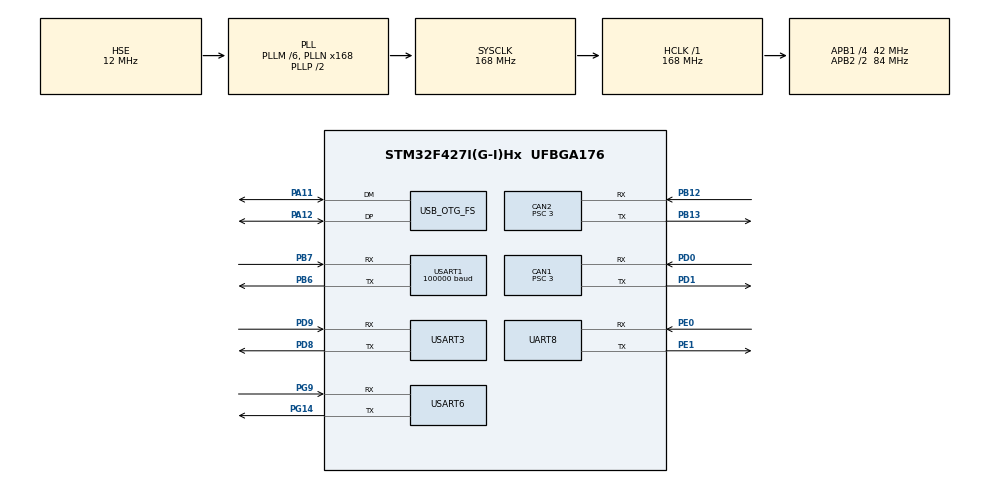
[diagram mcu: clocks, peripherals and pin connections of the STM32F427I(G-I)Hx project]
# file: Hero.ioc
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CAN1.ABOM=ENABLE
CAN1.BS1=CAN_BS1_9TQ
CAN1.BS2=CAN_BS2_4TQ
CAN1.CalculateBaudRate=1000000
CAN1.CalculateTimeBit=1000
CAN1.CalculateTimeQuantum=71.42857142857143
CAN1.NART=ENABLE
CAN1.Prescaler=3
CAN2.ABOM=ENABLE
CAN2.BS1=CAN_BS1_9TQ
CAN2.BS2=CAN_BS2_4TQ
CAN2.CalculateBaudRate=1000000
CAN2.CalculateTimeBit=1000
CAN2.CalculateTimeQuantum=71.42857142857143
CAN2.NART=ENABLE
CAN2.Prescaler=3
Dma.Request0=USART3_RX
Dma.Request1=USART3_TX
Dma.Request2=USART6_TX
Dma.Request3=USART1_RX
Dma.Request4=USART1_TX
Dma.Request5=UART8_RX
Dma.Request6=UART8_TX
Dma.Request7=USART6_RX
Dma.UART8_RX.5.Direction=DMA_PERIPH_TO_MEMORY
Dma.UART8_RX.5.FIFOMode=DMA_FIFOMODE_DISABLE
Dma.UART8_RX.5.Instance=DMA1_Stream6
Dma.UART8_RX.5.MemDataAlignment=DMA_MDATAALIGN_BYTE
Dma.UART8_RX.5.MemInc=DMA_MINC_ENABLE
Dma.UART8_RX.5.Mode=DMA_NORMAL
Dma.UART8_RX.5.PeriphDataAlignment=DMA_PDATAALIGN_BYTE
Dma.UART8_RX.5.PeriphInc=DMA_PINC_DISABLE
Dma.UART8_RX.5.Priority=DMA_PRIORITY_LOW
Dma.UART8_TX.6.Direction=DMA_MEMORY_TO_PERIPH
Dma.UART8_TX.6.FIFOMode=DMA_FIFOMODE_DISABLE
Dma.UART8_TX.6.Instance=DMA1_Stream0
Dma.UART8_TX.6.MemDataAlignment=DMA_MDATAALIGN_BYTE
Dma.UART8_TX.6.MemInc=DMA_MINC_ENABLE
Dma.UART8_TX.6.Mode=DMA_NORMAL
Dma.UART8_TX.6.PeriphDataAlignment=DMA_PDATAALIGN_BYTE
Dma.UART8_TX.6.PeriphInc=DMA_PINC_DISABLE
Dma.UART8_TX.6.Priority=DMA_PRIORITY_LOW
Dma.USART1_RX.3.Direction=DMA_PERIPH_TO_MEMORY
Dma.USART1_RX.3.FIFOMode=DMA_FIFOMODE_DISABLE
Dma.USART1_RX.3.Instance=DMA2_Stream2
Dma.USART1_RX.3.MemDataAlignment=DMA_MDATAALIGN_BYTE
Dma.USART1_RX.3.MemInc=DMA_MINC_ENABLE
Dma.USART1_RX.3.Mode=DMA_NORMAL
Dma.USART1_RX.3.PeriphDataAlignment=DMA_PDATAALIGN_BYTE
Dma.USART1_RX.3.PeriphInc=DMA_PINC_DISABLE
Dma.USART1_RX.3.Priority=DMA_PRIORITY_LOW
Dma.USART1_TX.4.Direction=DMA_MEMORY_TO_PERIPH
Dma.USART1_TX.4.FIFOMode=DMA_FIFOMODE_DISABLE
Dma.USART1_TX.4.Instance=DMA2_Stream7
Dma.USART1_TX.4.MemDataAlignment=DMA_MDATAALIGN_BYTE
Dma.USART1_TX.4.MemInc=DMA_MINC_ENABLE
Dma.USART1_TX.4.Mode=DMA_NORMAL
Dma.USART1_TX.4.PeriphDataAlignment=DMA_PDATAALIGN_BYTE
Dma.USART1_TX.4.PeriphInc=DMA_PINC_DISABLE
Dma.USART1_TX.4.Priority=DMA_PRIORITY_LOW
Dma.USART3_RX.0.Direction=DMA_PERIPH_TO_MEMORY
Dma.USART3_RX.0.FIFOMode=DMA_FIFOMODE_DISABLE
Dma.USART3_RX.0.Instance=DMA1_Stream1
Dma.USART3_RX.0.MemDataAlignment=DMA_MDATAALIGN_BYTE
Dma.USART3_RX.0.MemInc=DMA_MINC_ENABLE
Dma.USART3_RX.0.Mode=DMA_NORMAL
Dma.USART3_RX.0.PeriphDataAlignment=DMA_PDATAALIGN_BYTE
Dma.USART3_RX.0.PeriphInc=DMA_PINC_DISABLE
Dma.USART3_RX.0.Priority=DMA_PRIORITY_LOW
Dma.USART3_TX.1.Direction=DMA_MEMORY_TO_PERIPH
Dma.USART3_TX.1.FIFOMode=DMA_FIFOMODE_DISABLE
Dma.USART3_TX.1.Instance=DMA1_Stream4
Dma.USART3_TX.1.MemDataAlignment=DMA_MDATAALIGN_BYTE
Dma.USART3_TX.1.MemInc=DMA_MINC_ENABLE
Dma.USART3_TX.1.Mode=DMA_NORMAL
Dma.USART3_TX.1.PeriphDataAlignment=DMA_PDATAALIGN_BYTE
Dma.USART3_TX.1.PeriphInc=DMA_PINC_DISABLE
Dma.USART3_TX.1.Priority=DMA_PRIORITY_LOW
Dma.USART6_RX.7.Direction=DMA_PERIPH_TO_MEMORY
Dma.USART6_RX.7.FIFOMode=DMA_FIFOMODE_DISABLE
Dma.USART6_RX.7.Instance=DMA2_Stream1
Dma.USART6_RX.7.MemDataAlignment=DMA_MDATAALIGN_BYTE
Dma.USART6_RX.7.MemInc=DMA_MINC_ENABLE
Dma.USART6_RX.7.Mode=DMA_NORMAL
Dma.USART6_RX.7.PeriphDataAlignment=DMA_PDATAALIGN_BYTE
Dma.USART6_RX.7.PeriphInc=DMA_PINC_DISABLE
Dma.USART6_RX.7.Priority=DMA_PRIORITY_LOW
Dma.USART6_TX.2.Direction=DMA_MEMORY_TO_PERIPH
Dma.USART6_TX.2.FIFOMode=DMA_FIFOMODE_DISABLE
Dma.USART6_TX.2.Instance=DMA2_Stream6
Dma.USART6_TX.2.MemDataAlignment=DMA_MDATAALIGN_BYTE
Dma.USART6_TX.2.MemInc=DMA_MINC_ENABLE
Dma.USART6_TX.2.Mode=DMA_NORMAL
Dma.USART6_TX.2.PeriphDataAlignment=DMA_PDATAALIGN_BYTE
Dma.USART6_TX.2.PeriphInc=DMA_PINC_DISABLE
Dma.USART6_TX.2.Priority=DMA_PRIORITY_LOW
FREERTOS.Tasks01=start_name,24,128,start,Default,NULL,Dynamic,NULL,NULL
FREERTOS.configTOTAL_HEAP_SIZE=32768
Mcu.Family=STM32F4
Mcu.Name=STM32F427I(G-I)Hx
Mcu.Package=UFBGA176
NVIC.CAN1_RX0_IRQn=true\:6\:0\:true\:false\:true\:true\:true\:true\:true
NVIC.CAN1_RX1_IRQn=true\:6\:0\:true\:false\:true\:true\:true\:true\:true
NVIC.CAN2_RX0_IRQn=true\:6\:0\:true\:false\:true\:true\:true\:true\:true
NVIC.CAN2_RX1_IRQn=true\:6\:0\:true\:false\:true\:true\:true\:true\:true
NVIC.DMA1_Stream0_IRQn=true\:6\:0\:true\:false\:true\:true\:false\:true\:true
NVIC.DMA1_Stream1_IRQn=true\:6\:0\:true\:false\:true\:true\:false\:true\:true
NVIC.DMA1_Stream4_IRQn=true\:6\:0\:true\:false\:true\:false\:false\:true\:true
NVIC.DMA1_Stream6_IRQn=true\:6\:0\:true\:false\:true\:true\:false\:true\:true
NVIC.DMA2_Stream1_IRQn=true\:5\:0\:false\:false\:true\:true\:false\:true\:true
NVIC.DMA2_Stream2_IRQn=true\:6\:0\:true\:false\:true\:true\:false\:true\:true
NVIC.DMA2_Stream6_IRQn=true\:5\:0\:false\:false\:true\:true\:false\:true\:true
NVIC.DMA2_Stream7_IRQn=true\:5\:0\:false\:false\:true\:true\:false\:true\:true
NVIC.OTG_FS_IRQn=true\:5\:0\:false\:false\:true\:true\:true\:true\:true
NVIC.PriorityGroup=NVIC_PRIORITYGROUP_4
NVIC.TIM8_TRG_COM_TIM14_IRQn=true\:15\:0\:false\:false\:true\:false\:false\:true\:true
NVIC.TimeBase=TIM8_TRG_COM_TIM14_IRQn
NVIC.TimeBaseIP=TIM14
NVIC.UART8_IRQn=true\:6\:0\:true\:false\:true\:true\:true\:true\:true
NVIC.USART1_IRQn=true\:6\:0\:true\:false\:true\:true\:true\:true\:true
NVIC.USART3_IRQn=true\:6\:0\:true\:false\:true\:true\:false\:true\:true
NVIC.USART6_IRQn=true\:6\:0\:true\:false\:true\:true\:true\:true\:true
PA11.Mode=Device_Only
PA11.Signal=USB_OTG_FS_DM
PA12.Mode=Device_Only
PA12.Signal=USB_OTG_FS_DP
PA13.Mode=Serial_Wire
PA13.Signal=SYS_JTMS-SWDIO
PA14.Mode=Serial_Wire
PA14.Signal=SYS_JTCK-SWCLK
PB12.Mode=CAN_Activate
PB12.Signal=CAN2_RX
PB13.Mode=CAN_Activate
PB13.Signal=CAN2_TX
PB6.Mode=Asynchronous
PB6.Signal=USART1_TX
PB7.Mode=Asynchronous
PB7.Signal=USART1_RX
PD0.Mode=CAN_Activate
PD0.Signal=CAN1_RX
PD1.Mode=CAN_Activate
PD1.Signal=CAN1_TX
PD8.Mode=Asynchronous
PD8.Signal=USART3_TX
PD9.Mode=Asynchronous
PD9.Signal=USART3_RX
PE0.Mode=Asynchronous
PE0.Signal=UART8_RX
PE1.Mode=Asynchronous
PE1.Signal=UART8_TX
PG14.Mode=Asynchronous
PG14.Signal=USART6_TX
PG9.Mode=Asynchronous
PG9.Signal=USART6_RX
PH0/OSC_IN.Mode=HSE-External-Oscillator
PH0/OSC_IN.Signal=RCC_OSC_IN
PH1/OSC_OUT.Mode=HSE-External-Oscillator
PH1/OSC_OUT.Signal=RCC_OSC_OUT
ProjectManager.HeapSize=0x2000
ProjectManager.StackSize=0x1000
ProjectManager.TargetToolchain=MDK-ARM V5.32
RCC.48MHZClocksFreq_Value=48000000
RCC.AHBFreq_Value=168000000
RCC.APB1CLKDivider=RCC_HCLK_DIV4
RCC.APB1Freq_Value=42000000
RCC.APB1TimFreq_Value=84000000
RCC.APB2CLKDivider=RCC_HCLK_DIV2
RCC.APB2Freq_Value=84000000
RCC.APB2TimFreq_Value=168000000
RCC.CortexFreq_Value=168000000
RCC.HCLKFreq_Value=168000000
RCC.HSE_VALUE=12000000
RCC.HSI_VALUE=16000000
RCC.LSE_VALUE=32768
RCC.PLLM=6
RCC.PLLN=168
RCC.PLLQ=7
RCC.SYSCLKFreq_VALUE=168000000
RCC.SYSCLKSource=RCC_SYSCLKSOURCE_PLLCLK
RCC.VCOOutputFreq_Value=336000000
UART8.VirtualMode=Asynchronous
USART1.BaudRate=100000
USART1.Parity=PARITY_EVEN
USART1.VirtualMode=VM_ASYNC
USART1.WordLength=WORDLENGTH_9B
USART3.VirtualMode=VM_ASYNC
USART6.VirtualMode=VM_ASYNC
USB_DEVICE.CLASS_NAME_FS=CDC
USB_DEVICE.VirtualMode-CDC_FS=Cdc
USB_DEVICE.VirtualModeFS=Cdc_FS
USB_OTG_FS.VirtualMode=Device_Only
VP_FREERTOS_VS_CMSIS_V2.Mode=CMSIS_V2
VP_SYS_VS_tim14.Mode=TIM14
VP_TIM6_VS_ClockSourceINT.Mode=Enable_Timer
VP_USB_DEVICE_VS_USB_DEVICE_CDC_FS.Mode=CDC_FS
board=custom

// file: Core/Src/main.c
/* USER CODE BEGIN Header */
/**
  ******************************************************************************
  * @file           : main.c
  * @brief          : Main program body
  ******************************************************************************
  * @attention
  *
  * Copyright (c) 2026 STMicroelectronics.
  * All rights reserved.
  *
  * This software is licensed under terms that can be found in the LICENSE file
  * in the root directory of this software component.
  * If no LICENSE file comes with this software, it is provided AS-IS.
  *
  ******************************************************************************
  */
/* USER CODE END Header */
#include "main.h"
#include "cmsis_os.h"
#include "can.h"
#include "dma.h"
#include "tim.h"
#include "usart.h"
#include "usb_device.h"
#include "gpio.h"

/* USER CODE BEGIN Includes */
#include "FreeRTOS.h"
#include "queue.h"
#include "remote_task.hpp"
#include "can_send_task.hpp"
#include "chassis_task.hpp"

/* USER CODE END Includes */

void SystemClock_Config(void);
void MX_FREERTOS_Init(void);

int main(void)
 {

  /* MCU Configuration--------------------------------------------------------*/

  /* Reset of all peripherals, Initializes the Flash interface and the Systick. */
  HAL_Init();

  /* Configure the system clock */
  SystemClock_Config();

  /* Initialize all configured peripherals */
  MX_GPIO_Init();
  MX_DMA_Init();
  MX_CAN1_Init();
  MX_CAN2_Init();
  MX_USART3_UART_Init();
  MX_TIM6_Init();
  MX_USART6_UART_Init();
  MX_USART1_UART_Init();
  MX_UART8_Init();
  /* USER CODE BEGIN 2 */
 // 队列创建移到各自的任务中，避免在 FreeRTOS 启动前创建
 // remoteDataQueue = xQueueCreate(1, sizeof(RemoteData_t));
 // IMUDataQueue = xQueueCreate(1, sizeof(IMUData_t));

// 1. 创建长度为 1 的队列（用于 Overwrite 机制）
    remoteDataQueue = xQueueCreate(1, sizeof(RemoteData_t));
    IMUDataQueue = xQueueCreate(1, sizeof(IMUData_t));

motorspeedtargetQueue = xQueueCreate(10,sizeof(MotorSpeedTarget_t)); // 创建一个队列来传递电机目标转速数据

	motorCurrentDataQueue = xQueueCreate(1,sizeof(MotorCurrentData_t) * 4); // 创建一个队列来传递电机当前数据

    chassisCurrentDataQueue = xQueueCreate(10,sizeof(chassisCurrentData_t)); // 创建一个队列来传递底盘当前数据

//HAL::CAN::get_can_bus_instance(); // 触发 CAN bus 初始化：HAL_CAN_Start + 激活中断通知

// ❌ 删除：DMA 启动移到 remote_task 中，避免重复启动
// HAL_UARTEx_ReceiveToIdle_DMA(&huart1, receivedata, 18);
// HAL_UARTEx_ReceiveToIdle_DMA(&huart8, imu_rx_buffer, 64);

  /* USER CODE END 2 */

  /* Init scheduler */
  osKernelInitialize();  /* Call init function for freertos objects (in cmsis_os2.c) */
  MX_FREERTOS_Init();

  /* Start scheduler */
  osKernelStart();

  /* We should never get here as control is now taken by the scheduler */

  /* Infinite loop */
  while (1)
  {

  }
}

void SystemClock_Config(void)
{
  RCC_OscInitTypeDef RCC_OscInitStruct = {0};
  RCC_ClkInitTypeDef RCC_ClkInitStruct = {0};

  /** Configure the main internal regulator output voltage
  */
  __HAL_RCC_PWR_CLK_ENABLE();
  __HAL_PWR_VOLTAGESCALING_CONFIG(PWR_REGULATOR_VOLTAGE_SCALE1);

  /** Initializes the RCC Oscillators according to the specified parameters
  * in the RCC_OscInitTypeDef structure.
  */
  RCC_OscInitStruct.OscillatorType = RCC_OSCILLATORTYPE_HSE;
  RCC_OscInitStruct.HSEState = RCC_HSE_ON;
  RCC_OscInitStruct.PLL.PLLState = RCC_PLL_ON;
  RCC_OscInitStruct.PLL.PLLSource = RCC_PLLSOURCE_HSE;
  RCC_OscInitStruct.PLL.PLLM = 6;
  RCC_OscInitStruct.PLL.PLLN = 168;
  RCC_OscInitStruct.PLL.PLLP = RCC_PLLP_DIV2;
  RCC_OscInitStruct.PLL.PLLQ = 7;
  if (HAL_RCC_OscConfig(&RCC_OscInitStruct) != HAL_OK)
  {
    Error_Handler();
  }

  /** Initializes the CPU, AHB and APB buses clocks
  */
  RCC_ClkInitStruct.ClockType = RCC_CLOCKTYPE_HCLK|RCC_CLOCKTYPE_SYSCLK
                              |RCC_CLOCKTYPE_PCLK1|RCC_CLOCKTYPE_PCLK2;
  RCC_ClkInitStruct.SYSCLKSource = RCC_SYSCLKSOURCE_PLLCLK;
  RCC_ClkInitStruct.AHBCLKDivider = RCC_SYSCLK_DIV1;
  RCC_ClkInitStruct.APB1CLKDivider = RCC_HCLK_DIV4;
  RCC_ClkInitStruct.APB2CLKDivider = RCC_HCLK_DIV2;

  if (HAL_RCC_ClockConfig(&RCC_ClkInitStruct, FLASH_LATENCY_5) != HAL_OK)
  {
    Error_Handler();
  }
}

void HAL_TIM_PeriodElapsedCallback(TIM_HandleTypeDef *htim)
{
  if (htim->Instance == TIM14)
  {
    HAL_IncTick();
  }
}

void Error_Handler(void)
{
  __disable_irq();
  while (1)
  {
  }
}

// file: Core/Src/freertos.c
/* USER CODE BEGIN Header */
/**
  ******************************************************************************
  * File Name          : freertos.c
  * Description        : Code for freertos applications
  ******************************************************************************
  * @attention
  *
  * Copyright (c) 2026 STMicroelectronics.
  * All rights reserved.
  *
  * This software is licensed under terms that can be found in the LICENSE file
  * in the root directory of this software component.
  * If no LICENSE file comes with this software, it is provided AS-IS.
  *
  ******************************************************************************
  */
/* USER CODE END Header */

#include "FreeRTOS.h"
#include "task.h"
#include "main.h"
#include "cmsis_os.h"

/* USER CODE BEGIN Includes */
#include "FreeRTOS.h"
#include "queue.h"
#include "remote_task.hpp"
#include "chassis_task.hpp"
#include "can_send_task.hpp"
#include "usart.h"
#include "usb_device.h"

/* USER CODE END Includes */

/* Definitions for start_name */
osThreadId_t start_nameHandle;
const osThreadAttr_t start_name_attributes = {
  .name = "start_name",
  .stack_size = 128 * 4,
  .priority = (osPriority_t) osPriorityNormal,
};

/* USER CODE BEGIN FunctionPrototypes */
BaseType_t start_remote_control;
BaseType_t start_can_send;
BaseType_t start_chassis;

TaskHandle_t xRemoteHandle;
TaskHandle_t xCanSendHandle;
TaskHandle_t xGimbalHandle;

extern void MX_USB_DEVICE_Init(void);

/* USER CODE END FunctionPrototypes */

void start(void *argument);

//extern void MX_USB_DEVICE_Init(void);
void MX_FREERTOS_Init(void); /* (MISRA C 2004 rule 8.1) */

void MX_FREERTOS_Init(void) {

  /* Create the thread(s) */
  /* creation of start_name */
  //start_nameHandle = osThreadNew(start, NULL, &start_name_attributes);

  /* USER CODE BEGIN RTOS_THREADS */
  /* add threads, ... */
	  //MX_USB_DEVICE_Init();

	start_can_send = xTaskCreate(can_send_task, "CAN_Send_Task", 1024, NULL, osPriorityAboveNormal, &xCanSendHandle);
  start_chassis = xTaskCreate(chassis_task, "Chassis_Task", 256, NULL, osPriorityAboveNormal, &xGimbalHandle);
  start_remote_control = xTaskCreate(remote_task, "Remote_Control_Task", 256, NULL, osPriorityAboveNormal, &xRemoteHandle);

  /* USER CODE END RTOS_THREADS */

}

void start(void *argument)
{
  /* init code for USB_DEVICE */
  MX_USB_DEVICE_Init();
  for(;;)
  {
    osDelay(1);
  }
}
